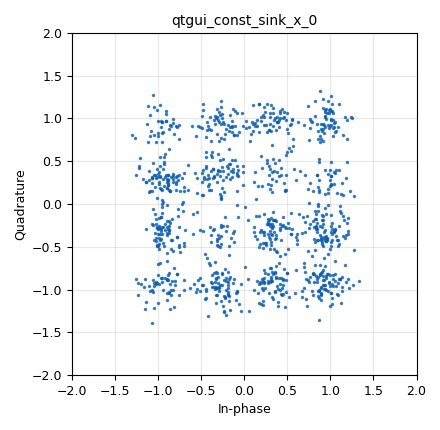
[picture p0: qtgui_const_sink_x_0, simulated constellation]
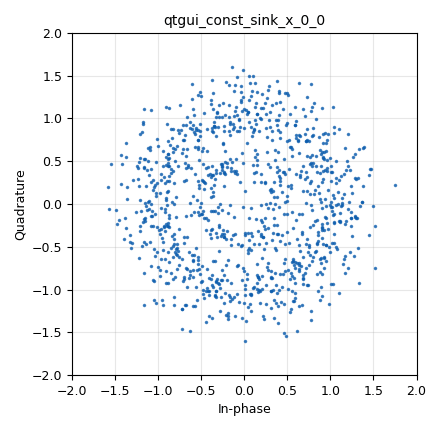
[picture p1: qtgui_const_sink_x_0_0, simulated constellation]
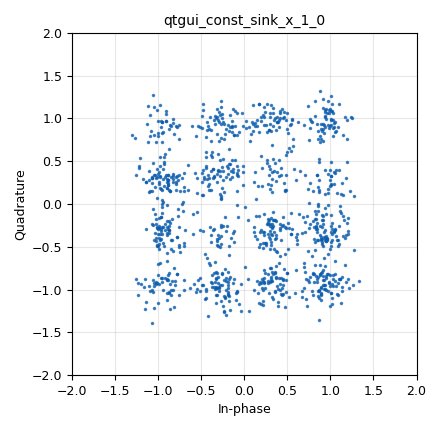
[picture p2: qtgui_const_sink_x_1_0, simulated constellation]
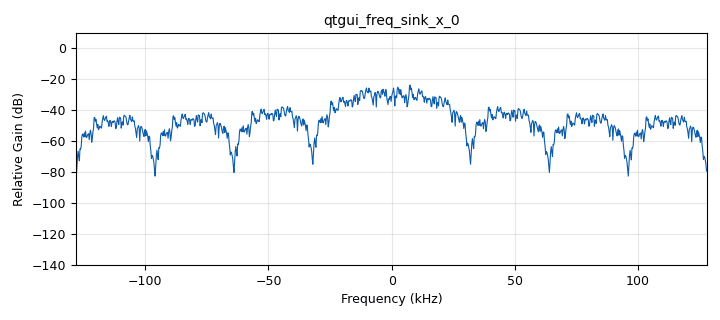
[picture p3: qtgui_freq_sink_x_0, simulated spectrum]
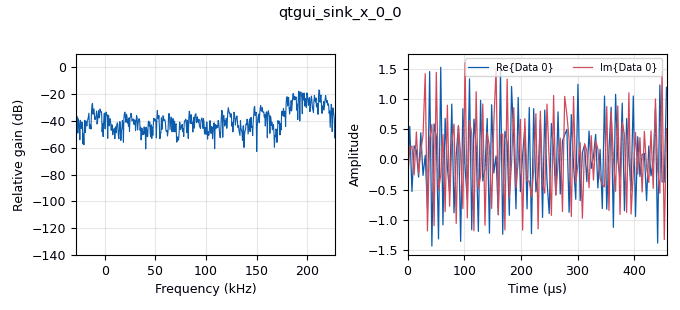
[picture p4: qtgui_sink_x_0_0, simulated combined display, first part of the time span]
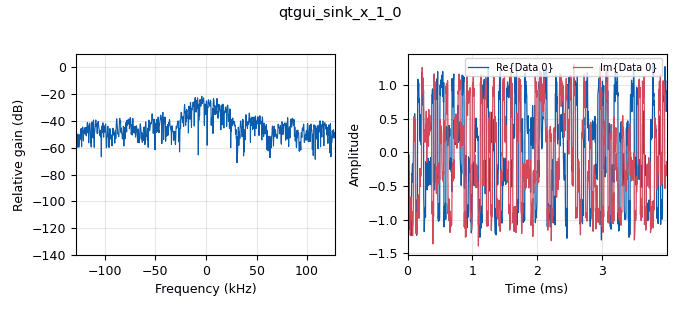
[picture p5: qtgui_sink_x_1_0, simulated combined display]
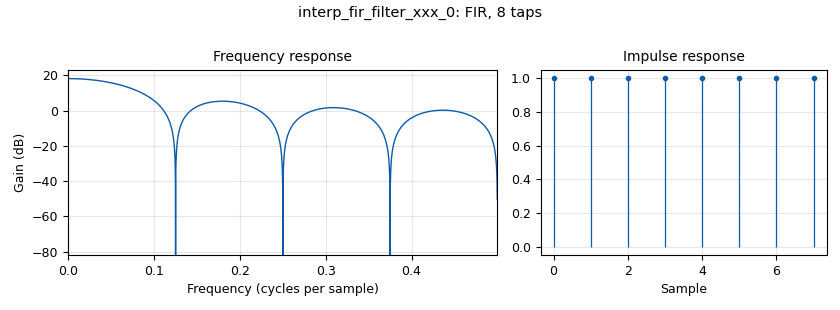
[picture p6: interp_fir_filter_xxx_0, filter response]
options:
  parameters:
    author: radiogis_director
    generate_options: qt_gui
    id: top_block
    output_language: python
    title: top_block
  states: {}

blocks:
- name: M
  id: variable
  parameters:
    value: len(tabla_de_verdad_constelacion )
  states: {}
- name: Rb
  id: variable
  parameters:
    value: Rs*bps
  states: {}
- name: Rs
  id: variable
  parameters:
    value: '32000'
  states: {}
- name: Sps
  id: variable
  parameters:
    value: '8'
  states: {}
- name: bps
  id: variable
  parameters:
    value: int(math.log(M,2))
  states: {}
- name: fc
  id: variable
  parameters:
    value: '100000'
  states: {}
- name: h
  id: variable
  parameters:
    value: '[1]*Sps'
  states: {}
- name: samp_rate
  id: variable
  parameters:
    value: Rs*Sps
  states: {}
- name: tabla_de_verdad_constelacion
  id: variable
  parameters:
    value: |-
      [
       (-0.9487-0.9487j),
       (-0.9487-0.3162j),
       (-0.9487+0.9487j),
       (-0.9487+0.3162j),
       (-0.3162-0.9487j),
       (-0.3162-0.3162j),
       (-0.3162+0.9487j),
       (-0.3162+0.3162j),
       ( 0.9487-0.9487j),
       ( 0.9487-0.3162j),
       ( 0.9487+0.9487j),
       ( 0.9487+0.3162j),
       ( 0.3162-0.9487j),
       ( 0.3162-0.3162j),
       ( 0.3162+0.9487j),
       ( 0.3162+0.3162j)
      ]
  states: {}
- name: analog_noise_source_x_0
  id: analog_noise_source_x
  parameters:
    amp: '0.2'
    noise_type: analog.GR_GAUSSIAN
    seed: '0'
    type: complex
  states: {}
- name: analog_random_source_x_0
  id: analog_random_source_x
  parameters:
    max: '2'
    min: '0'
    num_samps: '1000'
    repeat: 'True'
    type: byte
  states: {}
- name: analog_sig_source_x_0
  id: analog_sig_source_x
  parameters:
    amp: '1'
    freq: fc
    offset: '0'
    phase: '0'
    samp_rate: samp_rate
    type: complex
    waveform: analog.GR_COS_WAVE
  states: {state: disabled}
- name: analog_sig_source_x_0_0
  id: analog_sig_source_x
  parameters:
    amp: '1'
    freq: fc
    offset: '0'
    phase: '0'
    samp_rate: samp_rate
    type: complex
    waveform: analog.GR_COS_WAVE
  states: {}
- name: analog_sig_source_x_1
  id: analog_sig_source_x
  parameters:
    amp: '1'
    freq: '-fc'
    offset: '0'
    phase: '0'
    samp_rate: samp_rate
    type: complex
    waveform: analog.GR_COS_WAVE
  states: {state: disabled}
- name: analog_sig_source_x_1_0
  id: analog_sig_source_x
  parameters:
    amp: '1'
    freq: '-fc'
    offset: '0'
    phase: '0'
    samp_rate: samp_rate
    type: complex
    waveform: analog.GR_COS_WAVE
  states: {}
- name: blocks_add_xx_0
  id: blocks_add_xx
  parameters:
    type: complex
  states: {}
- name: blocks_complex_to_float_0
  id: blocks_complex_to_float
  parameters: {}
  states: {state: disabled}
- name: blocks_complex_to_float_0_0
  id: blocks_complex_to_float
  parameters: {}
  states: {}
- name: blocks_multiply_xx_0
  id: blocks_multiply_xx
  parameters:
    type: complex
  states: {state: disabled}
- name: blocks_multiply_xx_0_0
  id: blocks_multiply_xx
  parameters:
    type: complex
  states: {}
- name: blocks_multiply_xx_1
  id: blocks_multiply_xx
  parameters:
    type: complex
  states: {state: disabled}
- name: blocks_multiply_xx_1_0
  id: blocks_multiply_xx
  parameters:
    type: complex
  states: {}
- name: blocks_pack_k_bits_bb_0
  id: blocks_pack_k_bits_bb
  parameters:
    k: '8'
  states: {}
- name: blocks_packed_to_unpacked_xx_0
  id: blocks_packed_to_unpacked_xx
  parameters:
    bits_per_chunk: bps
    endianness: gr.GR_MSB_FIRST
    type: byte
  states: {}
- name: digital_chunks_to_symbols_xx_0
  id: digital_chunks_to_symbols_xx
  parameters:
    dimension: '1'
    in_type: byte
    out_type: complex
    symbol_table: tabla_de_verdad_constelacion
  states: {}
- name: import_0
  id: import
  parameters:
    imports: import math
  states: {}
- name: interp_fir_filter_xxx_0
  id: interp_fir_filter_xxx
  parameters:
    interp: Sps
    taps: h
    type: ccf
  states: {}
- name: qtgui_const_sink_x_0
  id: qtgui_const_sink_x
  parameters:
    size: '1024'
    type: complex
  states: {}
- name: qtgui_const_sink_x_0_0
  id: qtgui_const_sink_x
  parameters:
    size: '1024'
    type: complex
  states: {}
- name: qtgui_const_sink_x_1
  id: qtgui_const_sink_x
  parameters:
    size: '1024'
    type: complex
  states: {state: disabled}
- name: qtgui_const_sink_x_1_0
  id: qtgui_const_sink_x
  parameters:
    size: '1024'
    type: complex
  states: {}
- name: qtgui_freq_sink_x_0
  id: qtgui_freq_sink_x
  parameters:
    average: '0.05'
    bw: samp_rate
    fc: '0'
    fftsize: '1024'
    type: complex
  states: {}
- name: qtgui_sink_x_0
  id: qtgui_sink_x
  parameters:
    bw: samp_rate
    fc: fc
    fftsize: '2048'
    name: ''
    plotconst: 'False'
    plotwaterfall: 'False'
    showrf: 'True'
    type: complex
    wintype: window.WIN_HAMMING
  states: {state: disabled}
- name: qtgui_sink_x_0_0
  id: qtgui_sink_x
  parameters:
    bw: samp_rate
    fc: fc
    fftsize: '512'
    name: ''
    plotconst: 'False'
    plotwaterfall: 'False'
    rate: '5'
    showrf: 'True'
    type: complex
    wintype: window.WIN_HAMMING
  states: {}
- name: qtgui_sink_x_1
  id: qtgui_sink_x
  parameters:
    bw: samp_rate
    fc: '0'
    fftsize: '1024'
    plotconst: 'False'
    plotwaterfall: 'False'
    type: complex
  states: {state: disabled}
- name: qtgui_sink_x_1_0
  id: qtgui_sink_x
  parameters:
    bw: samp_rate
    fc: '0'
    fftsize: '1024'
    plotconst: 'False'
    plotwaterfall: 'False'
    type: complex
  states: {}
- name: qtgui_time_sink_x_0
  id: qtgui_time_sink_x
  parameters:
    grid: 'True'
    size: '1024'
    srate: samp_rate
    type: complex
  states: {}
- name: qtgui_time_sink_x_1
  id: qtgui_time_sink_x
  parameters:
    size: '1024'
    srate: samp_rate
    type: float
  states: {state: disabled}
- name: qtgui_time_sink_x_1_0
  id: qtgui_time_sink_x
  parameters:
    grid: 'True'
    size: '1024'
    srate: samp_rate
    type: float
  states: {}
- name: qtgui_time_sink_x_2
  id: qtgui_time_sink_x
  parameters:
    size: '1024'
    srate: samp_rate
    type: float
  states: {state: disabled}
- name: qtgui_time_sink_x_2_0
  id: qtgui_time_sink_x
  parameters:
    grid: 'True'
    size: '1024'
    srate: samp_rate
    type: float
  states: {}
- name: virtual_sink_0
  id: virtual_sink
  parameters:
    stream_id: p1
  states: {}
- name: virtual_sink_0_0
  id: virtual_sink
  parameters:
    stream_id: p0
  states: {}
- name: virtual_source_0
  id: virtual_source
  parameters:
    stream_id: p1
  states: {}
- name: virtual_source_0_0
  id: virtual_source
  parameters:
    stream_id: p0
  states: {}

connections:
- [analog_noise_source_x_0, '0', blocks_add_xx_0, '0']
- [analog_random_source_x_0, '0', blocks_pack_k_bits_bb_0, '0']
- [analog_sig_source_x_0, '0', blocks_multiply_xx_0, '1']
- [analog_sig_source_x_0_0, '0', blocks_multiply_xx_0_0, '1']
- [analog_sig_source_x_1, '0', blocks_multiply_xx_1, '1']
- [analog_sig_source_x_1_0, '0', blocks_multiply_xx_1_0, '1']
- [blocks_add_xx_0, '0', blocks_multiply_xx_0_0, '0']
- [blocks_add_xx_0, '0', virtual_sink_0, '0']
- [blocks_complex_to_float_0, '0', qtgui_time_sink_x_1, '0']
- [blocks_complex_to_float_0, '1', qtgui_time_sink_x_2, '0']
- [blocks_complex_to_float_0_0, '0', qtgui_time_sink_x_1_0, '0']
- [blocks_complex_to_float_0_0, '1', qtgui_time_sink_x_2_0, '0']
- [blocks_multiply_xx_0, '0', blocks_multiply_xx_1, '0']
- [blocks_multiply_xx_0, '0', qtgui_sink_x_0, '0']
- [blocks_multiply_xx_0_0, '0', blocks_multiply_xx_1_0, '0']
- [blocks_multiply_xx_0_0, '0', qtgui_const_sink_x_0_0, '0']
- [blocks_multiply_xx_0_0, '0', qtgui_sink_x_0_0, '0']
- [blocks_multiply_xx_1, '0', blocks_complex_to_float_0, '0']
- [blocks_multiply_xx_1, '0', qtgui_const_sink_x_1, '0']
- [blocks_multiply_xx_1, '0', qtgui_sink_x_1, '0']
- [blocks_multiply_xx_1_0, '0', blocks_complex_to_float_0_0, '0']
- [blocks_multiply_xx_1_0, '0', qtgui_const_sink_x_1_0, '0']
- [blocks_multiply_xx_1_0, '0', qtgui_sink_x_1_0, '0']
- [blocks_pack_k_bits_bb_0, '0', blocks_packed_to_unpacked_xx_0, '0']
- [blocks_packed_to_unpacked_xx_0, '0', digital_chunks_to_symbols_xx_0, '0']
- [digital_chunks_to_symbols_xx_0, '0', interp_fir_filter_xxx_0, '0']
- [interp_fir_filter_xxx_0, '0', blocks_add_xx_0, '1']
- [interp_fir_filter_xxx_0, '0', blocks_multiply_xx_0, '0']
- [interp_fir_filter_xxx_0, '0', virtual_sink_0_0, '0']
- [virtual_source_0, '0', qtgui_const_sink_x_0, '0']
- [virtual_source_0, '0', qtgui_time_sink_x_0, '0']
- [virtual_source_0_0, '0', qtgui_freq_sink_x_0, '0']

metadata:
  file_format: 1
  grc_version: 3.10.12.0
